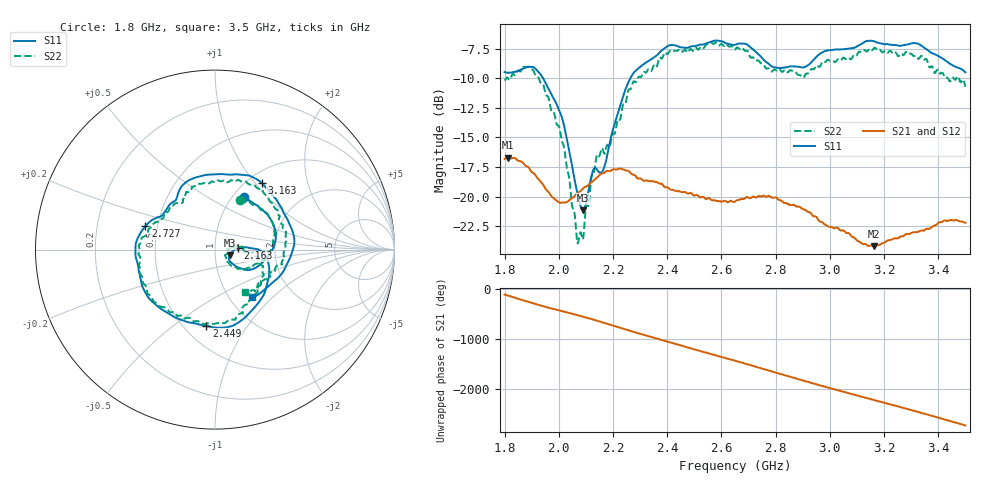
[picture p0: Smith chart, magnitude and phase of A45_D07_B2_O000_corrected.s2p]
! Created with skrf 1.9.0 (http://scikit-rf.org).
# Hz S RI R 50.0
!freq ReS11 ImS11 ReS21 ImS21 ReS12 ImS12 ReS22 ImS22
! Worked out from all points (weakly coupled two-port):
!   1601 points, 1.8 GHz to 3.5 GHz, reference 50 ohm
!   highest |S21| = -16.71 dB at 1.812 GHz (marker M1); lowest = -24.2 dB at 3.162 GHz (marker M2)
!   lowest |S11| = -21.2 dB at 2.09 GHz (marker M3), VSWR 1.19, Z = 58.7 - j3.81 ohm
!   |S11| at or under -10 dB: 1.942 GHz to 2.264 GHz (321.7 MHz wide, 15.3 % of centre)
!   |S22| runs from -24.0 to -7.0 dB; largest |S21 - S12| = 0.0026
!   S11 on the Smith chart (normalised r, x): 1.8 GHz: 1.12, +0.75; 2.163 GHz: 1.30, +0.02; 2.449 GHz: 0.64, -0.66; 2.727 GHz: 0.43, +0.13; 3.163 GHz: 1.16, +1.08; 3.5 GHz: 1.27, -0.75
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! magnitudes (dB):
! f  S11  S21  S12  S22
! 1.8 GHz  -9.5  -16.8  -16.8  -10.2
! 1.812 GHz  -9.5  -16.7  -16.7  -10.0
! 1.886 GHz  -9.0  -17.5  -17.5  -9.0
! 1.942 GHz  -10.0  -19.0  -19.0  -10.5
! 2.011 GHz  -13.3  -20.5  -20.5  -15.3
! 2.067 GHz  -19.5  -19.8  -19.8  -23.7
! 2.084 GHz  -21.0  -19.5  -19.4  -23.3
! 2.09 GHz  -21.2  -19.3  -19.3  -23.5
! 2.13 GHz  -17.6  -18.6  -18.6  -17.9
! 2.163 GHz  -17.8  -18.0  -18.0  -16.1
! 2.26 GHz  -10.2  -17.9  -17.9  -10.9
! 2.367 GHz  -7.9  -18.9  -18.8  -8.5
! 2.449 GHz  -7.4  -19.6  -19.6  -7.6
! 2.65 GHz  -7.2  -20.4  -20.4  -7.6
! 2.727 GHz  -7.8  -20.1  -20.1  -8.5
! 2.8 GHz  -9.1  -20.1  -20.1  -9.3
! 2.934 GHz  -8.6  -21.5  -21.5  -9.2
! 3.162 GHz  -6.8  -24.2  -24.2  -7.5
! 3.163 GHz  -6.9  -24.2  -24.2  -7.4
! 3.217 GHz  -7.1  -23.7  -23.7  -7.8
! 3.325 GHz  -7.1  -23.0  -23.0  -8.3
! 3.5 GHz  -9.5  -22.2  -22.2  -10.7
